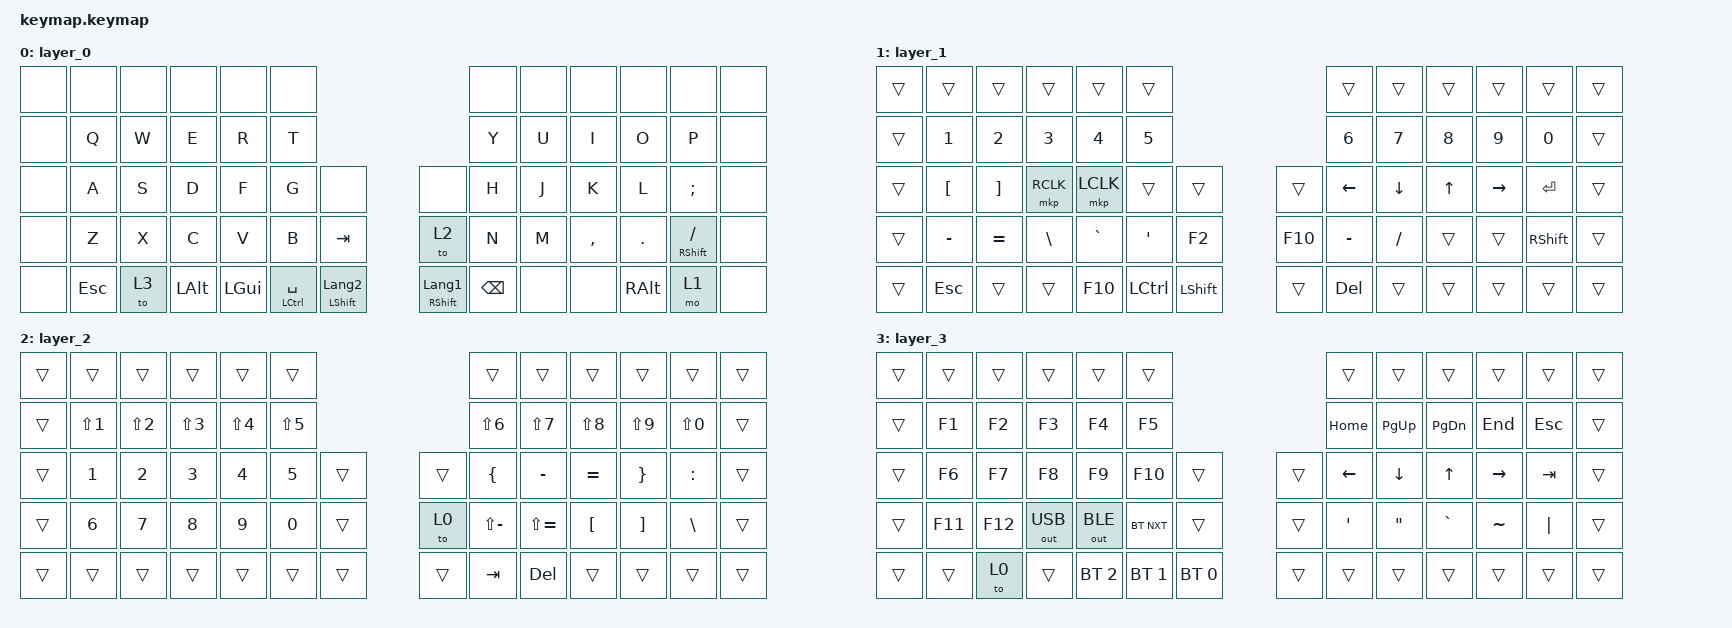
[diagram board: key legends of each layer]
#include <behaviors.dtsi>
#include <dt-bindings/zmk/bt.h>
#include <dt-bindings/zmk/keys.h>
#include <dt-bindings/zmk/outputs.h>
#include <dt-bindings/zmk/pointing.h>

/ {
    combos {
        compatible = "zmk,combos";

        bt_clear {
            bindings = <&bt BT_CLR>;
            key-positions = <28 29>;
            layers = <2>;
        };
    };

    keymap {
        compatible = "zmk,keymap";

        layer_0 {
            bindings = <
&none  &none       &none  &none         &none         &none                                                                     &none          &none  &none      &none          &none                 &none
&none  &kp Q       &kp W  &kp E         &kp R         &kp T                                                                     &kp Y          &kp U  &kp I      &kp O          &kp P                 &none
&none  &kp A       &kp S  &kp D         &kp F         &kp G                   &none                      &none                  &kp H          &kp J  &kp K      &kp L          &kp SEMI              &none
&none  &kp Z       &kp X  &kp C         &kp V         &kp B                   &kp TAB                    &to 2                  &kp N          &kp M  &kp COMMA  &kp DOT        &mt RIGHT_SHIFT FSLH  &none
&none  &kp ESCAPE  &to 3  &kp LEFT_ALT  &kp LEFT_GUI  &mt LEFT_CONTROL SPACE  &mt LEFT_SHIFT LANGUAGE_2  &mt RSHIFT LANGUAGE_1  &kp BACKSPACE  &none  &none      &kp RIGHT_ALT  &mo 1                 &none
            >;
        };

        layer_1 {
            bindings = <
&trans  &trans            &trans             &trans         &trans        &trans                              &trans          &trans     &trans        &trans           &trans           &trans
&trans  &kp NUMBER_1      &kp NUMBER_2       &kp NUMBER_3   &kp NUMBER_4  &kp N5                              &kp NUMBER_6    &kp N7     &kp N8        &kp N9           &kp N0           &trans
&trans  &kp LEFT_BRACKET  &kp RIGHT_BRACKET  &mkp RCLK      &mkp LCLK     &trans     &trans          &trans   &kp LEFT_ARROW  &kp DOWN   &kp UP_ARROW  &kp RIGHT_ARROW  &kp RETURN       &trans
&trans  &kp MINUS         &kp EQUAL          &kp BACKSLASH  &kp GRAVE     &kp APOS   &kp F2          &kp F10  &kp MINUS       &kp SLASH  &trans        &trans           &kp RIGHT_SHIFT  &trans
&trans  &kp ESCAPE        &trans             &trans         &kp F10       &kp LCTRL  &kp LEFT_SHIFT  &trans   &kp DELETE      &trans     &trans        &trans           &trans           &trans
            >;
        };

        layer_2 {
            bindings = <
&trans  &trans            &trans            &trans      &trans      &trans                      &trans          &trans         &trans            &trans             &trans         &trans
&trans  &kp LS(NUMBER_1)  &kp LS(NUMBER_2)  &kp LS(N3)  &kp LS(N4)  &kp LS(N5)                  &kp LS(N6)      &kp LS(N7)     &kp LS(N8)        &kp LS(N9)         &kp LS(N0)     &trans
&trans  &kp N1            &kp N2            &kp N3      &kp N4      &kp N5      &trans  &trans  &kp LEFT_BRACE  &kp MINUS      &kp EQUAL         &kp RIGHT_BRACE    &kp COLON      &trans
&trans  &kp N6            &kp N7            &kp N8      &kp N9      &kp N0      &trans  &to 0   &kp LS(MINUS)   &kp LS(EQUAL)  &kp LEFT_BRACKET  &kp RIGHT_BRACKET  &kp BACKSLASH  &trans
&trans  &trans            &trans            &trans      &trans      &trans      &trans  &trans  &kp TAB         &kp DEL        &trans            &trans             &trans         &trans
            >;
        };

        layer_3 {
            bindings = <
&trans  &trans   &trans   &trans        &trans        &trans                              &trans            &trans     &trans         &trans     &trans      &trans
&trans  &kp F1   &kp F2   &kp F3        &kp F4        &kp F5                              &kp HOME          &kp PG_UP  &kp PAGE_DOWN  &kp END    &kp ESCAPE  &trans
&trans  &kp F6   &kp F7   &kp F8        &kp F9        &kp F10       &trans        &trans  &kp LEFT          &kp DOWN   &kp UP_ARROW   &kp RIGHT  &kp TAB     &trans
&trans  &kp F11  &kp F12  &out OUT_USB  &out OUT_BLE  &bt BT_NXT    &trans        &trans  &kp SINGLE_QUOTE  &kp DQT    &kp GRAVE      &kp TILDE  &kp PIPE    &trans
&trans  &trans   &to 0    &trans        &bt BT_SEL 2  &bt BT_SEL 1  &bt BT_SEL 0  &trans  &trans            &trans     &trans         &trans     &trans      &trans
            >;
        };
    };
};
